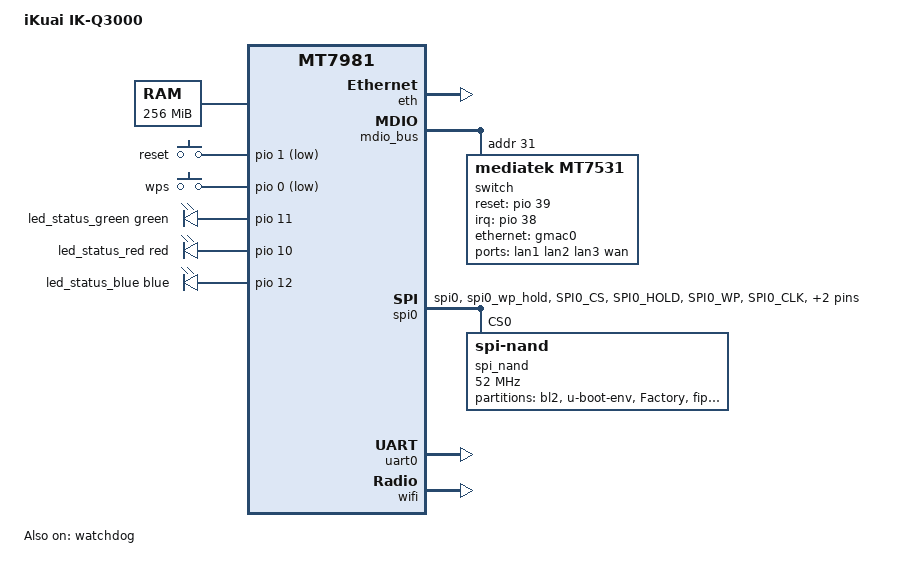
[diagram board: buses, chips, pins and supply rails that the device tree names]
// SPDX-License-Identifier: GPL-2.0-or-later OR MIT
//
// iKuai IK-Q3000（MT7981A 双频 + MT7531 交换芯片，SPI-NAND 128MiB）
// 布局参照 openwrt-25.12 的 mt7981b-jcg-q30-pro.dts（同为 4 口 + snand + ubi），
// 分区表 / MAC / LED / 按键来自设备原厂 DTS（XIAOZHAOXSXH 移植版）：
//   - 分区：bl2 0x100000 / u-boot-env 0x80000 / Factory 0x200000 /
//           fip 0x200000 / ubi 0x4000000（原厂走 NMBM，主线用内核 BMT 兜底）
//   - MAC：Factory 0x10048 为 wan，lan = wan + 1（在 02_network 处理）
//   - LED：green pio11 / red pio10 / blue pio12
//   - 按键：reset pio1 / wps pio0

/dts-v1/;
#include <dt-bindings/gpio/gpio.h>
#include <dt-bindings/input/input.h>
#include <dt-bindings/leds/common.h>
#include <dt-bindings/pinctrl/mt65xx.h>

#include "mt7981b.dtsi"

/ {
	model = "iKuai IK-Q3000";
	compatible = "ikuai,q3000", "mediatek,mt7981";

	aliases {
		serial0 = &uart0;
		label-mac-device = &gmac0;
		led-boot = &led_status_red;
		led-failsafe = &led_status_red;
		led-running = &led_status_green;
		led-upgrade = &led_status_blue;
	};

	chosen {
		stdout-path = "serial0:115200n1";
	};

	memory@40000000 {
		reg = <0 0x40000000 0 0x10000000>;
		device_type = "memory";
	};

	gpio-keys {
		compatible = "gpio-keys";

		reset {
			label = "reset";
			linux,code = <KEY_RESTART>;
			gpios = <&pio 1 GPIO_ACTIVE_LOW>;
		};

		wps {
			label = "wps";
			linux,code = <KEY_WPS_BUTTON>;
			gpios = <&pio 0 GPIO_ACTIVE_LOW>;
		};
	};

	leds {
		compatible = "gpio-leds";

		led_status_green: green {
			function = LED_FUNCTION_STATUS;
			color = <LED_COLOR_ID_GREEN>;
			gpios = <&pio 11 GPIO_ACTIVE_HIGH>;
		};

		led_status_red: red {
			function = LED_FUNCTION_STATUS;
			color = <LED_COLOR_ID_RED>;
			gpios = <&pio 10 GPIO_ACTIVE_HIGH>;
		};

		led_status_blue: blue {
			function = LED_FUNCTION_STATUS;
			color = <LED_COLOR_ID_BLUE>;
			gpios = <&pio 12 GPIO_ACTIVE_HIGH>;
		};
	};
};

&eth {
	status = "okay";

	gmac0: mac@0 {
		compatible = "mediatek,eth-mac";
		reg = <0>;
		phy-mode = "2500base-x";

		nvmem-cells = <&macaddr_wan>;
		nvmem-cell-names = "mac-address";

		fixed-link {
			speed = <2500>;
			full-duplex;
			pause;
		};
	};
};

&mdio_bus {
	switch: switch@1f {
		compatible = "mediatek,mt7531";
		reg = <31>;
		reset-gpios = <&pio 39 GPIO_ACTIVE_HIGH>;
		interrupt-controller;
		#interrupt-cells = <1>;
		interrupt-parent = <&pio>;
		interrupts = <38 IRQ_TYPE_LEVEL_HIGH>;
	};
};

&spi0 {
	pinctrl-names = "default";
	pinctrl-0 = <&spi0_flash_pins>;
	status = "okay";

	spi_nand@0 {
		compatible = "spi-nand";
		reg = <0>;

		spi-max-frequency = <52000000>;
		spi-tx-bus-width = <4>;
		spi-rx-bus-width = <4>;

		partitions {
			compatible = "fixed-partitions";
			#address-cells = <1>;
			#size-cells = <1>;

			partition@0 {
				label = "bl2";
				reg = <0x0000000 0x0100000>;
				read-only;
			};

			partition@100000 {
				label = "u-boot-env";
				reg = <0x0100000 0x0080000>;
			};

			factory: partition@180000 {
				label = "Factory";
				reg = <0x0180000 0x0200000>;
				read-only;

				nvmem-layout {
					compatible = "fixed-layout";
					#address-cells = <1>;
					#size-cells = <1>;

					eeprom_factory_0: eeprom@0 {
						reg = <0x0 0x1000>;
					};

					macaddr_wan: macaddr@10048 {
						reg = <0x10048 0x6>;
					};
				};
			};

			partition@380000 {
				label = "fip";
				reg = <0x0380000 0x0200000>;
				read-only;
			};

			partition@580000 {
				label = "ubi";
				reg = <0x0580000 0x4000000>;
			};
		};
	};
};

&switch {
	ports {
		#address-cells = <1>;
		#size-cells = <0>;

		port@0 {
			reg = <0>;
			label = "lan1";
		};

		port@1 {
			reg = <1>;
			label = "lan2";
		};

		port@2 {
			reg = <2>;
			label = "lan3";
		};

		port@3 {
			reg = <3>;
			label = "wan";
		};

		port@6 {
			reg = <6>;
			ethernet = <&gmac0>;
			phy-mode = "2500base-x";

			fixed-link {
				speed = <2500>;
				full-duplex;
				pause;
			};
		};
	};
};

&pio {
	spi0_flash_pins: spi0-pins {
		mux {
			function = "spi";
			groups = "spi0", "spi0_wp_hold";
		};

		conf-pu {
			pins = "SPI0_CS", "SPI0_HOLD", "SPI0_WP";
			drive-strength = <MTK_DRIVE_8mA>;
			bias-pull-up = <MTK_PUPD_SET_R1R0_11>;
		};

		conf-pd {
			pins = "SPI0_CLK", "SPI0_MOSI", "SPI0_MISO";
			drive-strength = <MTK_DRIVE_8mA>;
			bias-pull-down = <MTK_PUPD_SET_R1R0_11>;
		};
	};
};

&uart0 {
	status = "okay";
};

&watchdog {
	status = "okay";
};

&wifi {
	status = "okay";

	nvmem-cells = <&eeprom_factory_0>;
	nvmem-cell-names = "eeprom";
};
